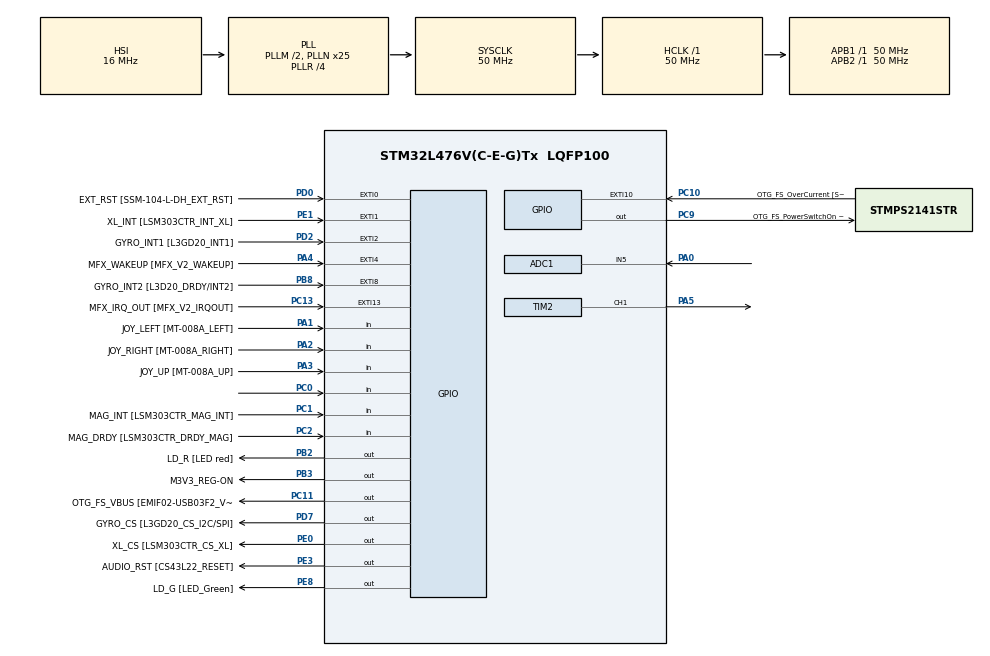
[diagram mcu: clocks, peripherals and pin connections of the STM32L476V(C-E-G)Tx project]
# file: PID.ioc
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ADC1.Channel-0\#ChannelRegularConversion=ADC_CHANNEL_5
ADC1.ContinuousConvMode=DISABLE
ADC1.DMAContinuousRequests=ENABLE
ADC1.ExternalTrigConv=ADC_SOFTWARE_START
ADC1.NbrOfConversionFlag=1
ADC1.OffsetNumber-0\#ChannelRegularConversion=ADC_OFFSET_NONE
ADC1.Rank-0\#ChannelRegularConversion=1
ADC1.SamplingTime-0\#ChannelRegularConversion=ADC_SAMPLETIME_92CYCLES_5
ADC1.master=1
Dma.ADC1.0.Direction=DMA_PERIPH_TO_MEMORY
Dma.ADC1.0.Instance=DMA1_Channel1
Dma.ADC1.0.MemDataAlignment=DMA_MDATAALIGN_HALFWORD
Dma.ADC1.0.MemInc=DMA_MINC_ENABLE
Dma.ADC1.0.Mode=DMA_NORMAL
Dma.ADC1.0.PeriphDataAlignment=DMA_PDATAALIGN_HALFWORD
Dma.ADC1.0.PeriphInc=DMA_PINC_DISABLE
Dma.ADC1.0.Priority=DMA_PRIORITY_LOW
Dma.Request0=ADC1
Mcu.Family=STM32L4
Mcu.Name=STM32L476V(C-E-G)Tx
Mcu.Package=LQFP100
Mcu.UserConstants=TIM6_PRESC,999;TIM6_PER,79;TIM7_PRESC,999;TIM7_PER,79;PWM_PRESC,819;PWM_PERIOD,4094
NVIC.ADC1_2_IRQn=true\:0\:0\:false\:false\:true\:true\:true
NVIC.DMA1_Channel1_IRQn=true\:0\:0\:false\:false\:true\:false\:true
NVIC.PriorityGroup=NVIC_PRIORITYGROUP_4
NVIC.TIM6_DAC_IRQn=true\:0\:0\:false\:false\:true\:true\:true
PA0.Signal=ADCx_IN5
PA1.GPIO_Label=JOY_LEFT [MT-008A_LEFT]
PA1.GPIO_Mode=GPIO_MODE_INPUT
PA1.GPIO_PuPd=GPIO_PULLDOWN
PA1.Signal=GPIO_Input
PA10.GPIO_Label=COM2 [GH08172T_COM2]
PA10.GPIO_Mode=GPIO_MODE_AF_PP
PA10.GPIO_PuPd=GPIO_NOPULL
PA10.GPIO_Speed=GPIO_SPEED_FREQ_LOW
PA10.Signal=LCD_COM2
PA11.GPIO_Label=OTG_FS_DM [EMIF02-USB03F2_D-out]
PA11.GPIO_Mode=GPIO_MODE_AF_PP
PA11.GPIO_PuPd=GPIO_NOPULL
PA11.GPIO_Speed=GPIO_SPEED_FREQ_VERY_HIGH
PA11.Signal=USB_OTG_FS_DM
PA12.GPIO_Label=OTG_FS_DP [EMIF02-USB03F2_D+out]
PA12.GPIO_Mode=GPIO_MODE_AF_PP
PA12.GPIO_PuPd=GPIO_NOPULL
PA12.GPIO_Speed=GPIO_SPEED_FREQ_VERY_HIGH
PA12.Signal=USB_OTG_FS_DP
PA13\ (JTMS-SWDIO).GPIO_Label=SWDIO
PA13\ (JTMS-SWDIO).Signal=SYS_JTMS-SWDIO
PA14\ (JTCK-SWCLK).GPIO_Label=SWCLK
PA14\ (JTCK-SWCLK).Signal=SYS_JTCK-SWCLK
PA15\ (JTDI).GPIO_Label=SEG10 [GH08172T_SEG10]
PA15\ (JTDI).GPIO_Mode=GPIO_MODE_AF_PP
PA15\ (JTDI).GPIO_PuPd=GPIO_NOPULL
PA15\ (JTDI).GPIO_Speed=GPIO_SPEED_FREQ_LOW
PA15\ (JTDI).Signal=LCD_SEG17
PA2.GPIO_Label=JOY_RIGHT [MT-008A_RIGHT]
PA2.GPIO_Mode=GPIO_MODE_INPUT
PA2.GPIO_PuPd=GPIO_PULLDOWN
PA2.Signal=GPIO_Input
PA3.GPIO_Label=JOY_UP [MT-008A_UP]
PA3.GPIO_Mode=GPIO_MODE_INPUT
PA3.GPIO_PuPd=GPIO_PULLDOWN
PA3.Signal=GPIO_Input
PA4.GPIO_Label=MFX_WAKEUP [MFX_V2_WAKEUP]
PA4.GPIO_ModeDefaultEXTI=GPIO_MODE_EVT_RISING
PA4.GPIO_PuPd=GPIO_NOPULL
PA4.Signal=GPXTI4
PA5.Signal=S_TIM2_CH1
PA6.GPIO_Label=SEG23 [GH08172T_SEG23]
PA6.GPIO_Mode=GPIO_MODE_AF_PP
PA6.GPIO_PuPd=GPIO_NOPULL
PA6.GPIO_Speed=GPIO_SPEED_FREQ_LOW
PA6.Signal=LCD_SEG3
PA7.GPIO_Label=SEG0 [GH08172T_SEG0]
PA7.GPIO_Mode=GPIO_MODE_AF_PP
PA7.GPIO_PuPd=GPIO_NOPULL
PA7.GPIO_Speed=GPIO_SPEED_FREQ_LOW
PA7.Signal=LCD_SEG4
PA8.GPIO_Label=COM0 [GH08172T_COM0]
PA8.GPIO_Mode=GPIO_MODE_AF_PP
PA8.GPIO_PuPd=GPIO_NOPULL
PA8.GPIO_Speed=GPIO_SPEED_FREQ_LOW
PA8.Signal=LCD_COM0
PA9.GPIO_Label=COM1 [GH08172T_COM1]
PA9.GPIO_Mode=GPIO_MODE_AF_PP
PA9.GPIO_PuPd=GPIO_NOPULL
PA9.GPIO_Speed=GPIO_SPEED_FREQ_LOW
PA9.Signal=LCD_COM1
PB0.GPIO_Label=SEG21 [GH08172T_SEG21]
PB0.GPIO_Mode=GPIO_MODE_AF_PP
PB0.GPIO_PuPd=GPIO_NOPULL
PB0.GPIO_Speed=GPIO_SPEED_FREQ_LOW
PB0.Signal=LCD_SEG5
PB1.GPIO_Label=SEG2 [GH08172T_SEG2]
PB1.GPIO_Mode=GPIO_MODE_AF_PP
PB1.GPIO_PuPd=GPIO_NOPULL
PB1.GPIO_Speed=GPIO_SPEED_FREQ_LOW
PB1.Signal=LCD_SEG6
PB10.GPIO_Label=MFX_I2C_SLC [MFX_V2_I2C_SCL]
PB10.GPIO_Mode=GPIO_MODE_AF_OD
PB10.GPIO_PuPdOD=GPIO_PULLUP
PB10.GPIO_Speed=GPIO_SPEED_FREQ_VERY_HIGH
PB10.Signal=I2C2_SCL
PB11.GPIO_Label=MFX_I2C_SDA [MFX_V2_I2C_SDA]
PB11.GPIO_Mode=GPIO_MODE_AF_OD
PB11.GPIO_PuPdOD=GPIO_PULLUP
PB11.GPIO_Speed=GPIO_SPEED_FREQ_VERY_HIGH
PB11.Signal=I2C2_SDA
PB12.GPIO_Label=SEG20 [GH08172T_SEG20]
PB12.GPIO_Mode=GPIO_MODE_AF_PP
PB12.GPIO_PuPd=GPIO_NOPULL
PB12.GPIO_Speed=GPIO_SPEED_FREQ_LOW
PB12.Signal=LCD_SEG12
PB13.GPIO_Label=SEG3 [GH08172T_SEG3]
PB13.GPIO_Mode=GPIO_MODE_AF_PP
PB13.GPIO_PuPd=GPIO_NOPULL
PB13.GPIO_Speed=GPIO_SPEED_FREQ_LOW
PB13.Signal=LCD_SEG13
PB14.GPIO_Label=SEG19 [GH08172T_SEG19]
PB14.GPIO_Mode=GPIO_MODE_AF_PP
PB14.GPIO_PuPd=GPIO_NOPULL
PB14.GPIO_Speed=GPIO_SPEED_FREQ_LOW
PB14.Signal=LCD_SEG14
PB15.GPIO_Label=SEG4 [GH08172T_SEG4]
PB15.GPIO_Mode=GPIO_MODE_AF_PP
PB15.GPIO_PuPd=GPIO_NOPULL
PB15.GPIO_Speed=GPIO_SPEED_FREQ_LOW
PB15.Signal=LCD_SEG15
PB2.GPIO_Label=LD_R [LED red]
PB2.GPIO_ModeDefaultOutputPP=GPIO_MODE_OUTPUT_PP
PB2.GPIO_PuPd=GPIO_PULLUP
PB2.GPIO_Speed=GPIO_SPEED_FREQ_VERY_HIGH
PB2.Signal=GPIO_Output
PB3\ (JTDO-TRACESWO).GPIO_Label=M3V3_REG-ON
PB3\ (JTDO-TRACESWO).GPIO_ModeDefaultOutputPP=GPIO_MODE_OUTPUT_PP
PB3\ (JTDO-TRACESWO).GPIO_PuPd=GPIO_NOPULL
PB3\ (JTDO-TRACESWO).GPIO_Speed=GPIO_SPEED_FREQ_LOW
PB3\ (JTDO-TRACESWO).Signal=GPIO_Output
PB4\ (NJTRST).GPIO_Label=SEG11 [GH08172T_SEG11]
PB4\ (NJTRST).GPIO_Mode=GPIO_MODE_AF_PP
PB4\ (NJTRST).GPIO_PuPd=GPIO_NOPULL
PB4\ (NJTRST).GPIO_Speed=GPIO_SPEED_FREQ_LOW
PB4\ (NJTRST).Signal=LCD_SEG8
PB5.GPIO_Label=SEG12 [GH08172T_SEG12]
PB5.GPIO_Mode=GPIO_MODE_AF_PP
PB5.GPIO_PuPd=GPIO_NOPULL
PB5.GPIO_Speed=GPIO_SPEED_FREQ_LOW
PB5.Signal=LCD_SEG9
PB6.GPIO_FM6=__NULL
PB6.GPIO_Label=I2C1_SCL [SSM-104-L-DH_SCL]
PB6.GPIO_Mode=GPIO_MODE_AF_OD
PB6.GPIO_PuPdOD=GPIO_PULLUP
PB6.GPIO_Speed=GPIO_SPEED_FREQ_VERY_HIGH
PB6.Signal=I2C1_SCL
PB7.GPIO_FM7=__NULL
PB7.GPIO_Label=I2C1_SDA [SSM-104-L-DH_SDA]
PB7.GPIO_Mode=GPIO_MODE_AF_OD
PB7.GPIO_PuPdOD=GPIO_PULLUP
PB7.GPIO_Speed=GPIO_SPEED_FREQ_VERY_HIGH
PB7.Signal=I2C1_SDA
PB8.GPIO_Label=GYRO_INT2 [L3D20_DRDY/INT2]
PB8.GPIO_ModeDefaultEXTI=GPIO_MODE_EVT_RISING
PB8.GPIO_PuPd=GPIO_NOPULL
PB8.Signal=GPXTI8
PB9.GPIO_FM9=__NULL
PB9.GPIO_Label=COM3 [GH08172T_COM3]
PB9.GPIO_Mode=GPIO_MODE_AF_PP
PB9.GPIO_PuPd=GPIO_NOPULL
PB9.GPIO_Speed=GPIO_SPEED_FREQ_LOW
PB9.Signal=LCD_COM3
PC0.Signal=GPIO_Input
PC1.GPIO_Label=MAG_INT [LSM303CTR_MAG_INT]
PC1.GPIO_Mode=GPIO_MODE_INPUT
PC1.GPIO_PuPd=GPIO_NOPULL
PC1.Signal=GPIO_Input
PC10.GPIO_Label=OTG_FS_OverCurrent [STMPS2141STR_FAULT]
PC10.GPIO_ModeDefaultEXTI=GPIO_MODE_EVT_RISING
PC10.GPIO_PuPd=GPIO_NOPULL
PC10.Signal=GPXTI10
PC11.GPIO_Label=OTG_FS_VBUS [EMIF02-USB03F2_Vbus]
PC11.GPIO_ModeDefaultOutputPP=GPIO_MODE_OUTPUT_PP
PC11.GPIO_PuPd=GPIO_NOPULL
PC11.GPIO_Speed=GPIO_SPEED_FREQ_LOW
PC11.Signal=GPIO_Output
PC13.GPIO_Label=MFX_IRQ_OUT [MFX_V2_IRQOUT]
PC13.GPIO_ModeDefaultEXTI=GPIO_MODE_EVT_RISING
PC13.GPIO_PuPd=GPIO_NOPULL
PC13.Signal=GPXTI13
PC14-OSC32_IN\ (PC14).Signal=RCC_OSC32_IN
PC15-OSC32_OUT\ (PC15).Signal=RCC_OSC32_OUT
PC2.GPIO_Label=MAG_DRDY [LSM303CTR_DRDY_MAG]
PC2.GPIO_Mode=GPIO_MODE_INPUT
PC2.GPIO_PuPd=GPIO_NOPULL
PC2.Signal=GPIO_Input
PC3.GPIO_Label=VLCD
PC3.GPIO_Mode=GPIO_MODE_AF_PP
PC3.GPIO_PuPd=GPIO_NOPULL
PC3.GPIO_Speed=GPIO_SPEED_FREQ_LOW
PC3.Signal=LCD_VLCD
PC4.GPIO_Label=SEG22 [GH08172T_SEG22]
PC4.GPIO_Mode=GPIO_MODE_AF_PP
PC4.GPIO_PuPd=GPIO_NOPULL
PC4.GPIO_Speed=GPIO_SPEED_FREQ_LOW
PC4.Signal=LCD_SEG22
PC5.GPIO_Label=SEG1 [GH08172T_SEG1]
PC5.GPIO_Mode=GPIO_MODE_AF_PP
PC5.GPIO_PuPd=GPIO_NOPULL
PC5.GPIO_Speed=GPIO_SPEED_FREQ_LOW
PC5.Signal=LCD_SEG23
PC6.GPIO_Label=SEG14 [GH08172T_SEG14]
PC6.GPIO_Mode=GPIO_MODE_AF_PP
PC6.GPIO_PuPd=GPIO_NOPULL
PC6.GPIO_Speed=GPIO_SPEED_FREQ_LOW
PC6.Signal=LCD_SEG24
PC7.GPIO_Label=SEG9 [GH08172T_SEG9]
PC7.GPIO_Mode=GPIO_MODE_AF_PP
PC7.GPIO_PuPd=GPIO_NOPULL
PC7.GPIO_Speed=GPIO_SPEED_FREQ_LOW
PC7.Signal=LCD_SEG25
PC8.GPIO_Label=SEG13 [GH08172T_SEG13]
PC8.GPIO_Mode=GPIO_MODE_AF_PP
PC8.GPIO_PuPd=GPIO_NOPULL
PC8.GPIO_Speed=GPIO_SPEED_FREQ_LOW
PC8.Signal=LCD_SEG26
PC9.GPIO_Label=OTG_FS_PowerSwitchOn [STMPS2141STR_EN]
PC9.GPIO_ModeDefaultOutputPP=GPIO_MODE_OUTPUT_PP
PC9.GPIO_PuPd=GPIO_NOPULL
PC9.GPIO_Speed=GPIO_SPEED_FREQ_LOW
PC9.PinState=GPIO_PIN_SET
PC9.Signal=GPIO_Output
PD0.GPIO_Label=EXT_RST [SSM-104-L-DH_EXT_RST]
PD0.GPIO_ModeDefaultEXTI=GPIO_MODE_EVT_RISING
PD0.GPIO_PuPd=GPIO_NOPULL
PD0.Signal=GPXTI0
PD1.GPIO_Label=MEMS_SCK [L3GD20_SCL/SPC]
PD1.GPIO_Mode=GPIO_MODE_AF_PP
PD1.GPIO_PuPd=GPIO_NOPULL
PD1.GPIO_Speed=GPIO_SPEED_FREQ_VERY_HIGH
PD1.Signal=SPI2_SCK
PD10.GPIO_Label=SEG17 [GH08172T_SEG17]
PD10.GPIO_Mode=GPIO_MODE_AF_PP
PD10.GPIO_PuPd=GPIO_NOPULL
PD10.GPIO_Speed=GPIO_SPEED_FREQ_LOW
PD10.Signal=LCD_SEG30
PD11.GPIO_Label=SEG6 [GH08172T_SEG6]
PD11.GPIO_Mode=GPIO_MODE_AF_PP
PD11.GPIO_PuPd=GPIO_NOPULL
PD11.GPIO_Speed=GPIO_SPEED_FREQ_LOW
PD11.Signal=LCD_SEG31
PD12.GPIO_Label=SEG16 [GH08172T_SEG16]
PD12.GPIO_Mode=GPIO_MODE_AF_PP
PD12.GPIO_PuPd=GPIO_NOPULL
PD12.GPIO_Speed=GPIO_SPEED_FREQ_LOW
PD12.Signal=LCD_SEG32
PD13.GPIO_Label=SEG7 [GH08172T_SEG7]
PD13.GPIO_Mode=GPIO_MODE_AF_PP
PD13.GPIO_PuPd=GPIO_NOPULL
PD13.GPIO_Speed=GPIO_SPEED_FREQ_LOW
PD13.Signal=LCD_SEG33
PD14.GPIO_Label=SEG15 [GH08172T_SEG15]
PD14.GPIO_Mode=GPIO_MODE_AF_PP
PD14.GPIO_PuPd=GPIO_NOPULL
PD14.GPIO_Speed=GPIO_SPEED_FREQ_LOW
PD14.Signal=LCD_SEG34
PD15.GPIO_Label=SEG8 [GH08172T_SEG8]
PD15.GPIO_Mode=GPIO_MODE_AF_PP
PD15.GPIO_PuPd=GPIO_NOPULL
PD15.GPIO_Speed=GPIO_SPEED_FREQ_LOW
PD15.Signal=LCD_SEG35
PD2.GPIO_Label=GYRO_INT1 [L3GD20_INT1]
PD2.GPIO_ModeDefaultEXTI=GPIO_MODE_EVT_RISING
PD2.GPIO_PuPd=GPIO_NOPULL
PD2.Signal=GPXTI2
PD3.GPIO_Label=MEMS_MISO [L3GD20_SA0/SDO]
PD3.GPIO_Mode=GPIO_MODE_AF_PP
PD3.GPIO_PuPd=GPIO_NOPULL
PD3.GPIO_Speed=GPIO_SPEED_FREQ_VERY_HIGH
PD3.Signal=SPI2_MISO
PD4.GPIO_Label=MEMS_MOSI [L3GD20_SDA/SDI/SDO]
PD4.GPIO_Mode=GPIO_MODE_AF_PP
PD4.GPIO_PuPd=GPIO_NOPULL
PD4.GPIO_Speed=GPIO_SPEED_FREQ_VERY_HIGH
PD4.Signal=SPI2_MOSI
PD5.GPIO_Label=USART_TX
PD5.GPIO_Mode=GPIO_MODE_AF_PP
PD5.GPIO_PuPd=GPIO_PULLUP
PD5.GPIO_Speed=GPIO_SPEED_FREQ_VERY_HIGH
PD5.Signal=USART2_TX
PD6.GPIO_Label=USART_RX
PD6.GPIO_Mode=GPIO_MODE_AF_PP
PD6.GPIO_PuPd=GPIO_PULLUP
PD6.GPIO_Speed=GPIO_SPEED_FREQ_VERY_HIGH
PD6.Signal=USART2_RX
PD7.GPIO_Label=GYRO_CS [L3GD20_CS_I2C/SPI]
PD7.GPIO_ModeDefaultOutputPP=GPIO_MODE_OUTPUT_PP
PD7.GPIO_PuPd=GPIO_NOPULL
PD7.GPIO_Speed=GPIO_SPEED_FREQ_VERY_HIGH
PD7.Signal=GPIO_Output
PD8.GPIO_Label=SEG18 [GH08172T_SEG18]
PD8.GPIO_Mode=GPIO_MODE_AF_PP
PD8.GPIO_PuPd=GPIO_NOPULL
PD8.GPIO_Speed=GPIO_SPEED_FREQ_LOW
PD8.Signal=LCD_SEG28
PD9.GPIO_Label=SEG5 [GH08172T_SEG5]
PD9.GPIO_Mode=GPIO_MODE_AF_PP
PD9.GPIO_PuPd=GPIO_NOPULL
PD9.GPIO_Speed=GPIO_SPEED_FREQ_LOW
PD9.Signal=LCD_SEG29
PE0.GPIO_Label=XL_CS [LSM303CTR_CS_XL]
PE0.GPIO_ModeDefaultOutputPP=GPIO_MODE_OUTPUT_PP
PE0.GPIO_PuPd=GPIO_NOPULL
PE0.GPIO_Speed=GPIO_SPEED_FREQ_LOW
PE0.Signal=GPIO_Output
PE1.GPIO_Label=XL_INT [LSM303CTR_INT_XL]
PE1.GPIO_ModeDefaultEXTI=GPIO_MODE_EVT_RISING
PE1.GPIO_PuPd=GPIO_NOPULL
PE1.Signal=GPXTI1
PE10.GPIO_Label=QSPI_CLK [N25Q128A13EF840E_C]
PE10.GPIO_Mode=GPIO_MODE_AF_PP
PE10.GPIO_PuPd=GPIO_NOPULL
PE10.GPIO_Speed=GPIO_SPEED_FREQ_VERY_HIGH
PE10.Signal=QUADSPI_CLK
PE11.GPIO_Label=QSPI_CS [N25Q128A13EF840E_S\#]
PE11.GPIO_Mode=GPIO_MODE_AF_PP
PE11.GPIO_PuPd=GPIO_NOPULL
PE11.GPIO_Speed=GPIO_SPEED_FREQ_VERY_HIGH
PE11.Signal=QUADSPI_NCS
PE12.GPIO_Label=QSPI_D0 [N25Q128A13EF840E_DQ0]
PE12.GPIO_Mode=GPIO_MODE_AF_PP
PE12.GPIO_PuPd=GPIO_NOPULL
PE12.GPIO_Speed=GPIO_SPEED_FREQ_VERY_HIGH
PE12.Signal=QUADSPI_BK1_IO0
PE13.GPIO_Label=QSPI_D1 [N25Q128A13EF840E_DQ1]
PE13.GPIO_Mode=GPIO_MODE_AF_PP
PE13.GPIO_PuPd=GPIO_NOPULL
PE13.GPIO_Speed=GPIO_SPEED_FREQ_VERY_HIGH
PE13.Signal=QUADSPI_BK1_IO1
PE14.GPIO_Label=QSPI_D2 [N25Q128A13EF840E_DQ2]
PE14.GPIO_Mode=GPIO_MODE_AF_PP
PE14.GPIO_PuPd=GPIO_NOPULL
PE14.GPIO_Speed=GPIO_SPEED_FREQ_VERY_HIGH
PE14.Signal=QUADSPI_BK1_IO2
PE15.GPIO_Label=QSPI_D3 [N25Q128A13EF840E_DQ3]
PE15.GPIO_Mode=GPIO_MODE_AF_PP
PE15.GPIO_PuPd=GPIO_NOPULL
PE15.GPIO_Speed=GPIO_SPEED_FREQ_VERY_HIGH
PE15.Signal=QUADSPI_BK1_IO3
PE2.GPIO_Label=SAI1_MCK [CS43L22_MCLK]
PE2.GPIO_Mode=GPIO_MODE_AF_PP
PE2.GPIO_PuPd=GPIO_NOPULL
PE2.GPIO_Speed=GPIO_SPEED_FREQ_VERY_HIGH
PE2.Signal=SAI1_MCLK_A
PE3.GPIO_Label=AUDIO_RST [CS43L22_RESET]
PE3.GPIO_ModeDefaultOutputPP=GPIO_MODE_OUTPUT_PP
PE3.GPIO_PuPd=GPIO_NOPULL
PE3.GPIO_Speed=GPIO_SPEED_FREQ_HIGH
PE3.Signal=GPIO_Output
PE4.GPIO_Label=SAI1_FS [CS43L22_LRCK]
PE4.GPIO_Mode=GPIO_MODE_AF_PP
PE4.GPIO_PuPd=GPIO_NOPULL
PE4.GPIO_Speed=GPIO_SPEED_FREQ_VERY_HIGH
PE4.Signal=SAI1_FS_A
PE5.GPIO_Label=SAI1_SCK [CS43L22_SCLK]
PE5.GPIO_Mode=GPIO_MODE_AF_PP
PE5.GPIO_PuPd=GPIO_NOPULL
PE5.GPIO_Speed=GPIO_SPEED_FREQ_VERY_HIGH
PE5.Signal=SAI1_SCK_A
PE6.GPIO_Label=SAI1_SD [CS43L22_SDIN]
PE6.GPIO_Mode=GPIO_MODE_AF_PP
PE6.GPIO_PuPd=GPIO_NOPULL
PE6.GPIO_Speed=GPIO_SPEED_FREQ_VERY_HIGH
PE6.Signal=SAI1_SD_A
PE7.GPIO_Label=AUDIO_DIN [MP34DT01_DOUT]
PE7.GPIO_Mode=GPIO_MODE_AF_PP
PE7.GPIO_PuPd=GPIO_NOPULL
PE7.GPIO_Speed=GPIO_SPEED_FREQ_VERY_HIGH
PE7.Signal=SAI1_SD_B
PE8.GPIO_Label=LD_G [LED_Green]
PE8.GPIO_ModeDefaultOutputPP=GPIO_MODE_OUTPUT_PP
PE8.GPIO_PuPd=GPIO_PULLUP
PE8.GPIO_Speed=GPIO_SPEED_FREQ_VERY_HIGH
PE8.Signal=GPIO_Output
PE9.GPIO_Label=AUDIO_CLK [MP34DT01_CLK]
PE9.GPIO_Mode=GPIO_MODE_AF_PP
PE9.GPIO_PuPd=GPIO_NOPULL
PE9.GPIO_Speed=GPIO_SPEED_FREQ_LOW
PE9.Signal=SAI1_FS_B
PH0-OSC_IN\ (PH0).Signal=RCC_OSC_IN
PH1-OSC_OUT\ (PH1).Signal=RCC_OSC_OUT
ProjectManager.HeapSize=0x200
ProjectManager.StackSize=0x400
ProjectManager.TargetToolchain=TrueSTUDIO
RCC.ADCFreq_Value=32000000
RCC.AHBFreq_Value=50000000
RCC.APB1Freq_Value=50000000
RCC.APB1TimFreq_Value=50000000
RCC.APB2Freq_Value=50000000
RCC.APB2TimFreq_Value=50000000
RCC.CortexFreq_Value=50000000
RCC.HCLKFreq_Value=50000000
RCC.HSE_VALUE=8000000
RCC.HSI_VALUE=16000000
RCC.LSE_VALUE=32768
RCC.MSI_VALUE=4000000
RCC.PLLM=2
RCC.PLLN=25
RCC.PLLR=RCC_PLLR_DIV4
RCC.PLLSourceVirtual=RCC_PLLSOURCE_HSI
RCC.PREFETCH_ENABLE=1
RCC.SYSCLKFreq_VALUE=50000000
RCC.SYSCLKSource=RCC_SYSCLKSOURCE_PLLCLK
RCC.USBFreq_Value=32000000
RCC.VCOOutputFreq_Value=200000000
SH.ADCx_IN5.0=ADC1_IN5,IN5-Single-Ended
SH.S_TIM2_CH1.0=TIM2_CH1,PWM Generation1 CH1
TIM2.Channel-PWM\ Generation1\ CH1=TIM_CHANNEL_1
TIM2.Period=PWM_PERIOD
TIM2.Prescaler=PWM_PRESC
TIM6.Period=TIM6_PER
TIM6.Prescaler=TIM6_PRESC
TIM6.TIM_MasterOutputTrigger=TIM_TRGO_UPDATE
TIM7.Period=TIM7_PER
TIM7.Prescaler=TIM7_PRESC
VP_TIM2_VS_ClockSourceINT.Mode=Internal
VP_TIM6_VS_ClockSourceINT.Mode=Enable_Timer
VP_TIM7_VS_ClockSourceINT.Mode=Enable_Timer
board=32L476GDISCOVERY

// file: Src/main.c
/* USER CODE BEGIN Header */
/**
  ******************************************************************************
  * @file           : main.c
  * @brief          : Main program body
  ******************************************************************************
  * @attention
  *
  * <h2><center>&copy; Copyright (c) 2019 STMicroelectronics.
  * All rights reserved.</center></h2>
  *
  * This software component is licensed by ST under BSD 3-Clause license,
  * the "License"; You may not use this file except in compliance with the
  * License. You may obtain a copy of the License at:
  *                        opensource.org/licenses/BSD-3-Clause
  *
  ******************************************************************************
  */
//Kp = 1,2*5/0.5 = 12; Ki =
/* USER CODE END Header */

#include "main.h"
#include "adc.h"
#include "dma.h"
#include "tim.h"
#include "gpio.h"
#include "pid.h"

void SystemClock_Config(void);

/* USER CODE BEGIN 0 */
volatile uint16_t adc_value = 0;
uint16_t set_value = 4095;
//int32_t output = 4095;
volatile int32_t pid_output = 0;
int32_t counter = 0;
uint16_t duty = 0;
cpid_t pid;
void HAL_TIM_PeriodElapsedCallback(TIM_HandleTypeDef *htim)
{
	if(htim->Instance == TIM6)
	{
		HAL_ADC_Start_DMA(&hadc1, (uint32_t *)&adc_value, 1);
	}
}
void HAL_ADC_ConvCpltCallback(ADC_HandleTypeDef* hadc)
{
  /* Prevent unused argument(s) compilation warning */
	//HAL_ADC_Stop_DMA(&hadc1);
	//counter++;
	pid_output = pid_calc(&pid, adc_value, set_value);
	//HAL_DAC_Start_DMA(&hdac1, DAC_CHANNEL_2, (uint32_t *)&pid_output, 1, DAC_ALIGN_12B_R);
	__HAL_TIM_SET_COMPARE(&htim2 , TIM_CHANNEL_1, pid_output);

  /* NOTE : This function should not be modified. When the callback is needed,
            function HAL_ADC_ConvCpltCallback must be implemented in the user file.
   */
}
//Dlaczego tu nie wchodzi???

/* USER CODE END 0 */

int main(void)
{

  /* MCU Configuration--------------------------------------------------------*/

  /* Reset of all peripherals, Initializes the Flash interface and the Systick. */
  HAL_Init();

  /* Configure the system clock */
  SystemClock_Config();

  /* Initialize all configured peripherals */
  MX_GPIO_Init();
  MX_DMA_Init();
  MX_ADC1_Init();
  MX_TIM6_Init();
  MX_TIM7_Init();
  MX_TIM2_Init();
  /* USER CODE BEGIN 2 */
  //pid_init(&pid, 0.5f, 0.0f, 0.0f, 10, 1);
  HAL_TIM_Base_Start_IT(&htim6);
  pid_init(&pid, 1.0, 0.0, 0, 0, 1);
  __HAL_TIM_SET_COMPARE(&htim2 , TIM_CHANNEL_1, duty);
    HAL_TIM_PWM_Start(&htim2 , TIM_CHANNEL_1) ;
  /* USER CODE END 2 */

  /* Infinite loop */
  while (1)
  {

  }
}

void SystemClock_Config(void)
{
  RCC_OscInitTypeDef RCC_OscInitStruct = {0};
  RCC_ClkInitTypeDef RCC_ClkInitStruct = {0};
  RCC_PeriphCLKInitTypeDef PeriphClkInit = {0};

  /** Initializes the CPU, AHB and APB busses clocks
  */
  RCC_OscInitStruct.OscillatorType = RCC_OSCILLATORTYPE_HSI;
  RCC_OscInitStruct.HSIState = RCC_HSI_ON;
  RCC_OscInitStruct.HSICalibrationValue = RCC_HSICALIBRATION_DEFAULT;
  RCC_OscInitStruct.PLL.PLLState = RCC_PLL_ON;
  RCC_OscInitStruct.PLL.PLLSource = RCC_PLLSOURCE_HSI;
  RCC_OscInitStruct.PLL.PLLM = 2;
  RCC_OscInitStruct.PLL.PLLN = 25;
  RCC_OscInitStruct.PLL.PLLP = RCC_PLLP_DIV7;
  RCC_OscInitStruct.PLL.PLLQ = RCC_PLLQ_DIV2;
  RCC_OscInitStruct.PLL.PLLR = RCC_PLLR_DIV4;
  if (HAL_RCC_OscConfig(&RCC_OscInitStruct) != HAL_OK)
  {
    Error_Handler();
  }
  /** Initializes the CPU, AHB and APB busses clocks
  */
  RCC_ClkInitStruct.ClockType = RCC_CLOCKTYPE_HCLK|RCC_CLOCKTYPE_SYSCLK
                              |RCC_CLOCKTYPE_PCLK1|RCC_CLOCKTYPE_PCLK2;
  RCC_ClkInitStruct.SYSCLKSource = RCC_SYSCLKSOURCE_PLLCLK;
  RCC_ClkInitStruct.AHBCLKDivider = RCC_SYSCLK_DIV1;
  RCC_ClkInitStruct.APB1CLKDivider = RCC_HCLK_DIV1;
  RCC_ClkInitStruct.APB2CLKDivider = RCC_HCLK_DIV1;

  if (HAL_RCC_ClockConfig(&RCC_ClkInitStruct, FLASH_LATENCY_3) != HAL_OK)
  {
    Error_Handler();
  }
  PeriphClkInit.PeriphClockSelection = RCC_PERIPHCLK_ADC;
  PeriphClkInit.AdcClockSelection = RCC_ADCCLKSOURCE_PLLSAI1;
  PeriphClkInit.PLLSAI1.PLLSAI1Source = RCC_PLLSOURCE_HSI;
  PeriphClkInit.PLLSAI1.PLLSAI1M = 2;
  PeriphClkInit.PLLSAI1.PLLSAI1N = 8;
  PeriphClkInit.PLLSAI1.PLLSAI1P = RCC_PLLP_DIV7;
  PeriphClkInit.PLLSAI1.PLLSAI1Q = RCC_PLLQ_DIV2;
  PeriphClkInit.PLLSAI1.PLLSAI1R = RCC_PLLR_DIV2;
  PeriphClkInit.PLLSAI1.PLLSAI1ClockOut = RCC_PLLSAI1_ADC1CLK;
  if (HAL_RCCEx_PeriphCLKConfig(&PeriphClkInit) != HAL_OK)
  {
    Error_Handler();
  }
  /** Configure the main internal regulator output voltage
  */
  if (HAL_PWREx_ControlVoltageScaling(PWR_REGULATOR_VOLTAGE_SCALE1) != HAL_OK)
  {
    Error_Handler();
  }
}

void Error_Handler(void)
{
}

/************************ (C) COPYRIGHT STMicroelectronics *****END OF FILE****/
